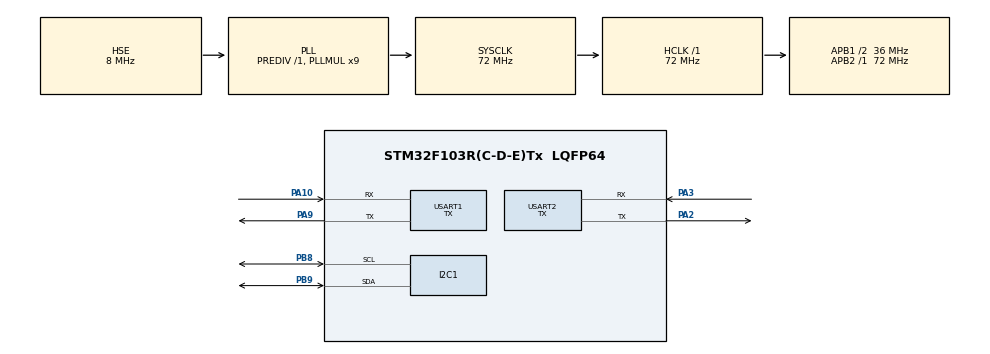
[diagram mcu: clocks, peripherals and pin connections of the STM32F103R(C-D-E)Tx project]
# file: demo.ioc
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Mcu.Family=STM32F1
Mcu.Name=STM32F103R(C-D-E)Tx
Mcu.Package=LQFP64
NVIC.PriorityGroup=NVIC_PRIORITYGROUP_4
NVIC.USART1_IRQn=true\:0\:0\:false\:false\:true\:true\:true\:true
PA10.Mode=Asynchronous
PA10.Signal=USART1_RX
PA13.Mode=Serial_Wire
PA13.Signal=SYS_JTMS-SWDIO
PA14.Mode=Serial_Wire
PA14.Signal=SYS_JTCK-SWCLK
PA2.Mode=Asynchronous
PA2.Signal=USART2_TX
PA3.Mode=Asynchronous
PA3.Signal=USART2_RX
PA9.Mode=Asynchronous
PA9.Signal=USART1_TX
PB8.Mode=I2C
PB8.Signal=I2C1_SCL
PB9.Mode=I2C
PB9.Signal=I2C1_SDA
PD0-OSC_IN.Mode=HSE-External-Oscillator
PD0-OSC_IN.Signal=RCC_OSC_IN
PD1-OSC_OUT.Mode=HSE-External-Oscillator
PD1-OSC_OUT.Signal=RCC_OSC_OUT
ProjectManager.HeapSize=0x200
ProjectManager.StackSize=0x400
ProjectManager.TargetToolchain=MDK-ARM V5
RCC.AHBFreq_Value=72000000
RCC.APB1CLKDivider=RCC_HCLK_DIV2
RCC.APB1Freq_Value=36000000
RCC.APB1TimFreq_Value=72000000
RCC.APB2Freq_Value=72000000
RCC.APB2TimFreq_Value=72000000
RCC.HCLKFreq_Value=72000000
RCC.PLLMUL=RCC_PLL_MUL9
RCC.PLLSourceVirtual=RCC_PLLSOURCE_HSE
RCC.SYSCLKFreq_VALUE=72000000
RCC.SYSCLKSource=RCC_SYSCLKSOURCE_PLLCLK
RCC.USBFreq_Value=72000000
USART1.Mode=MODE_TX
USART1.VirtualMode=VM_ASYNC
USART2.Mode=MODE_TX
USART2.VirtualMode=VM_ASYNC
board=custom

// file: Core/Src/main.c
/* USER CODE BEGIN Header */
/**
 ******************************************************************************
 * @file           : main.c
 * @brief          : Main program body
 ******************************************************************************
 * @attention
 *
 * <h2><center>&copy; Copyright (c) 2022 STMicroelectronics.
 * All rights reserved.</center></h2>
 *
 * This software component is licensed by ST under BSD 3-Clause license,
 * the "License"; You may not use this file except in compliance with the
 * License. You may obtain a copy of the License at:
 *                        opensource.org/licenses/BSD-3-Clause
 *
 ******************************************************************************
 */
/* USER CODE END Header */
#include "main.h"
#include "i2c.h"
#include "usart.h"
#include "gpio.h"

/* USER CODE BEGIN Includes */
#include "gy614/gy614.h"

/* USER CODE END Includes */

void SystemClock_Config(void);

int main(void)
{

    /* MCU Configuration--------------------------------------------------------*/

    /* Reset of all peripherals, Initializes the Flash interface and the Systick. */
    HAL_Init();

    /* Configure the system clock */
    SystemClock_Config();

    /* Initialize all configured peripherals */
    MX_GPIO_Init();
    MX_USART1_UART_Init();
    MX_USART2_UART_Init();
    MX_I2C1_Init();

    /* Infinite loop */
    /* USER CODE BEGIN WHILE */

    uint8_t new_addr = 0xAA;

#if 1

    do {
        i2c_scan(&GY614_I2C);
        HAL_Delay(1000);
    } while (
        i2c_check(&GY614_I2C, GY614_DEV) == I2C_ERR &&
        i2c_check(&GY614_I2C, new_addr) == I2C_ERR);

#endif

    gy614_print_regs();

#if 0

    // I2C 模式下设置的地址无法生效, 需在串口模式下设置

    gy614_set_address(new_addr);
    gy614_set_config();
    HAL_Delay(100);

    printv("%d", i2c_check(&GY614_I2C, GY614_DEV) == I2C_OK);
    printv("%d", i2c_check(&GY614_I2C, new_addr) == I2C_OK);

#endif

    printv("0x%02x", gy614_get_address());
    printv(" 0x%02x", gy614_get_baud_rate());

    // gy614_set_output_mode(GY614_OUTPUT_MODE_QUERY);
    gy614_set_output_mode(GY614_OUTPUT_MODE_CONTINUE);
    printv("0x%02x", gy614_get_output_mode());

    gy614_set_output_format(GY614_OUTPUT_FORMAT_HEX);
    printv("0x%02x", gy614_get_output_format());

    gy614_set_sample_rate(GY614_SAMPLE_RATE_10HZ);
    printv("0x%02x", gy614_get_sample_rate());

    gy614_set_emissivity(100);
    printv("%.2f", gy614_get_emissivity() / 100.0f);

    printv("0x%02x", gy614_get_chip_info());
    printv("0x%02x", gy614_get_fireware_info());

    gy614_print_regs();

    while (1) {
        println("%.2f,%.2f,%.2f",
                gy614_get_object_temp() / 100.0f,
                gy614_get_ambient_temp() / 100.0f,
                gy614_get_brow_temp() / 100.0f);
        HAL_Delay(50);

        /* USER CODE END WHILE */

    }
}

void SystemClock_Config(void)
{
    RCC_OscInitTypeDef RCC_OscInitStruct = {0};
    RCC_ClkInitTypeDef RCC_ClkInitStruct = {0};

    /** Initializes the RCC Oscillators according to the specified parameters
     * in the RCC_OscInitTypeDef structure.
     */
    RCC_OscInitStruct.OscillatorType = RCC_OSCILLATORTYPE_HSE;
    RCC_OscInitStruct.HSEState       = RCC_HSE_ON;
    RCC_OscInitStruct.HSEPredivValue = RCC_HSE_PREDIV_DIV1;
    RCC_OscInitStruct.HSIState       = RCC_HSI_ON;
    RCC_OscInitStruct.PLL.PLLState   = RCC_PLL_ON;
    RCC_OscInitStruct.PLL.PLLSource  = RCC_PLLSOURCE_HSE;
    RCC_OscInitStruct.PLL.PLLMUL     = RCC_PLL_MUL9;
    if (HAL_RCC_OscConfig(&RCC_OscInitStruct) != HAL_OK) {
        Error_Handler();
    }

    /** Initializes the CPU, AHB and APB buses clocks
     */
    RCC_ClkInitStruct.ClockType      = RCC_CLOCKTYPE_HCLK | RCC_CLOCKTYPE_SYSCLK | RCC_CLOCKTYPE_PCLK1 | RCC_CLOCKTYPE_PCLK2;
    RCC_ClkInitStruct.SYSCLKSource   = RCC_SYSCLKSOURCE_PLLCLK;
    RCC_ClkInitStruct.AHBCLKDivider  = RCC_SYSCLK_DIV1;
    RCC_ClkInitStruct.APB1CLKDivider = RCC_HCLK_DIV2;
    RCC_ClkInitStruct.APB2CLKDivider = RCC_HCLK_DIV1;

    if (HAL_RCC_ClockConfig(&RCC_ClkInitStruct, FLASH_LATENCY_2) != HAL_OK) {
        Error_Handler();
    }
}

void Error_Handler(void)
{
}
